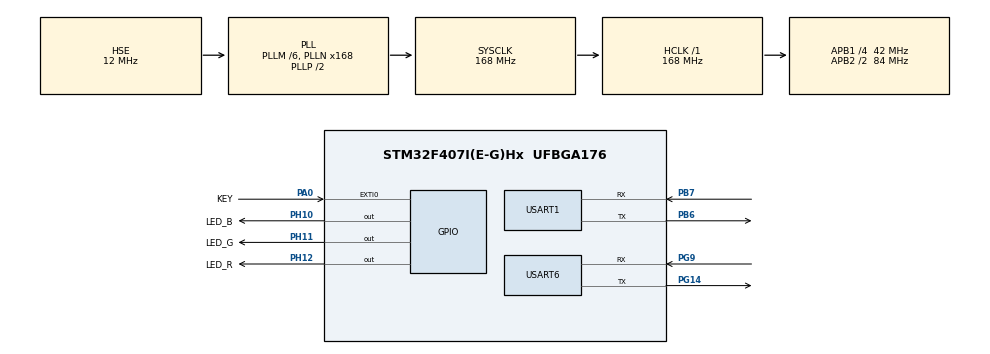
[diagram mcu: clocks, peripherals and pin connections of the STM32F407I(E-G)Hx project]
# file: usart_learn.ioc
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Mcu.Family=STM32F4
Mcu.Name=STM32F407I(E-G)Hx
Mcu.Package=UFBGA176
NVIC.EXTI0_IRQn=true\:0\:0\:false\:false\:true\:true\:true\:true
NVIC.PriorityGroup=NVIC_PRIORITYGROUP_4
NVIC.USART1_IRQn=true\:0\:0\:false\:false\:true\:true\:true\:true
NVIC.USART6_IRQn=true\:0\:0\:false\:false\:true\:true\:true\:true
PA0-WKUP.GPIO_Label=KEY
PA0-WKUP.GPIO_PuPd=GPIO_PULLUP
PA0-WKUP.Signal=GPXTI0
PA13.Mode=Serial_Wire
PA13.Signal=SYS_JTMS-SWDIO
PA14.Mode=Serial_Wire
PA14.Signal=SYS_JTCK-SWCLK
PB6.Mode=Asynchronous
PB6.Signal=USART1_TX
PB7.Mode=Asynchronous
PB7.Signal=USART1_RX
PG14.Mode=Asynchronous
PG14.Signal=USART6_TX
PG9.Mode=Asynchronous
PG9.Signal=USART6_RX
PH0-OSC_IN.Mode=HSE-External-Oscillator
PH0-OSC_IN.Signal=RCC_OSC_IN
PH1-OSC_OUT.Mode=HSE-External-Oscillator
PH1-OSC_OUT.Signal=RCC_OSC_OUT
PH10.GPIO_Label=LED_B
PH10.Signal=GPIO_Output
PH11.GPIO_Label=LED_G
PH11.Signal=GPIO_Output
PH12.GPIO_Label=LED_R
PH12.Signal=GPIO_Output
ProjectManager.HeapSize=0x200
ProjectManager.StackSize=0x400
ProjectManager.TargetToolchain=MDK-ARM V5.32
RCC.48MHZClocksFreq_Value=84000000
RCC.AHBFreq_Value=168000000
RCC.APB1CLKDivider=RCC_HCLK_DIV4
RCC.APB1Freq_Value=42000000
RCC.APB1TimFreq_Value=84000000
RCC.APB2CLKDivider=RCC_HCLK_DIV2
RCC.APB2Freq_Value=84000000
RCC.APB2TimFreq_Value=168000000
RCC.CortexFreq_Value=168000000
RCC.HCLKFreq_Value=168000000
RCC.HSE_VALUE=12000000
RCC.HSI_VALUE=16000000
RCC.LSE_VALUE=32768
RCC.PLLM=6
RCC.PLLN=168
RCC.PLLSourceVirtual=RCC_PLLSOURCE_HSE
RCC.SYSCLKFreq_VALUE=168000000
RCC.SYSCLKSource=RCC_SYSCLKSOURCE_PLLCLK
RCC.VCOOutputFreq_Value=336000000
USART1.VirtualMode=VM_ASYNC
USART6.VirtualMode=VM_ASYNC
VP_TIM1_VS_ClockSourceINT.Mode=Internal
board=custom

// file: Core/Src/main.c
/* USER CODE BEGIN Header */
/**
  ******************************************************************************
  * @file           : main.c
  * @brief          : Main program body
  ******************************************************************************
  * @attention
  *
  * Copyright (c) 2023 STMicroelectronics.
  * All rights reserved.
  *
  * This software is licensed under terms that can be found in the LICENSE file
  * in the root directory of this software component.
  * If no LICENSE file comes with this software, it is provided AS-IS.
  *
  ******************************************************************************
  */
/* USER CODE END Header */
#include "main.h"
#include "tim.h"
#include "usart.h"
#include "gpio.h"
#include "string.h"

/* USER CODE BEGIN PV */
uint8_t data;

/* USER CODE END PV */

void SystemClock_Config(void);
/* USER CODE BEGIN PFP */
void ledBringup()
{
	HAL_GPIO_WritePin(LED_R_GPIO_Port, LED_R_Pin, GPIO_PIN_SET);
  HAL_GPIO_WritePin(LED_G_GPIO_Port, LED_G_Pin, GPIO_PIN_SET);
  HAL_GPIO_WritePin(LED_B_GPIO_Port, LED_B_Pin, GPIO_PIN_SET);
}
void leddown()
{
	HAL_GPIO_WritePin(LED_R_GPIO_Port, LED_R_Pin, GPIO_PIN_RESET);
  HAL_GPIO_WritePin(LED_G_GPIO_Port, LED_G_Pin, GPIO_PIN_RESET);
  HAL_GPIO_WritePin(LED_B_GPIO_Port, LED_B_Pin, GPIO_PIN_RESET);
}
int led_flag=0;
uint8_t rece_data;
int flag=0;
uint8_t data_to_send[4];
typedef union{
	int data32;
	uint8_t data8[4];
}intData;
intData _temp;
/* USER CODE END PFP */

/* USER CODE BEGIN 0 */

void HAL_GPIO_EXTI_Callback(uint16_t GPIO_Pin)
{
	_temp.data32=flag;
	data_to_send[0]=_temp.data8[0];
	data_to_send[1]=_temp.data8[1];
	data_to_send[2]=_temp.data8[2];
	data_to_send[3]=_temp.data8[3];
	HAL_UART_Transmit(&huart6,data_to_send,sizeof(data_to_send),10);
	flag++;

}
void HAL_UART_RxCpltCallback(UART_HandleTypeDef *huart)
{

	if(huart==&huart6)
	{

	HAL_UART_Receive_IT(&huart6,&rece_data, 1);
	}

}
/* USER CODE END 0 */

int main(void)
{

  /* MCU Configuration--------------------------------------------------------*/

  /* Reset of all peripherals, Initializes the Flash interface and the Systick. */
  HAL_Init();

  /* Configure the system clock */
  SystemClock_Config();

  /* Initialize all configured peripherals */
  MX_GPIO_Init();
  MX_TIM1_Init();
  MX_USART1_UART_Init();
  MX_USART6_UART_Init();
  /* USER CODE BEGIN 2 */
	__HAL_UART_ENABLE_IT(&huart1, UART_IT_RXNE);  //receive interrupt
  __HAL_UART_ENABLE_IT(&huart1, UART_IT_IDLE);  //idle interrupt
  __HAL_UART_ENABLE_IT(&huart6, UART_IT_RXNE);  //receive interrupt
  __HAL_UART_ENABLE_IT(&huart6, UART_IT_IDLE);  //idle interrupt
  /* USER CODE END 2 */

  /* Infinite loop */
  /* USER CODE BEGIN WHILE */
	ledBringup();

	HAL_UART_Receive_IT(&huart6,&rece_data,1);
  while (1)
  {
    /* USER CODE END WHILE */

    /* USER CODE BEGIN 3 */
		if((int)rece_data==0)
		{
			ledBringup();
		}
		else{
			leddown();
		}

  }
  /* USER CODE END 3 */
}

void SystemClock_Config(void)
{
  RCC_OscInitTypeDef RCC_OscInitStruct = {0};
  RCC_ClkInitTypeDef RCC_ClkInitStruct = {0};

  /** Configure the main internal regulator output voltage
  */
  __HAL_RCC_PWR_CLK_ENABLE();
  __HAL_PWR_VOLTAGESCALING_CONFIG(PWR_REGULATOR_VOLTAGE_SCALE1);

  /** Initializes the RCC Oscillators according to the specified parameters
  * in the RCC_OscInitTypeDef structure.
  */
  RCC_OscInitStruct.OscillatorType = RCC_OSCILLATORTYPE_HSE;
  RCC_OscInitStruct.HSEState = RCC_HSE_ON;
  RCC_OscInitStruct.PLL.PLLState = RCC_PLL_ON;
  RCC_OscInitStruct.PLL.PLLSource = RCC_PLLSOURCE_HSE;
  RCC_OscInitStruct.PLL.PLLM = 6;
  RCC_OscInitStruct.PLL.PLLN = 168;
  RCC_OscInitStruct.PLL.PLLP = RCC_PLLP_DIV2;
  RCC_OscInitStruct.PLL.PLLQ = 4;
  if (HAL_RCC_OscConfig(&RCC_OscInitStruct) != HAL_OK)
  {
    Error_Handler();
  }

  /** Initializes the CPU, AHB and APB buses clocks
  */
  RCC_ClkInitStruct.ClockType = RCC_CLOCKTYPE_HCLK|RCC_CLOCKTYPE_SYSCLK
                              |RCC_CLOCKTYPE_PCLK1|RCC_CLOCKTYPE_PCLK2;
  RCC_ClkInitStruct.SYSCLKSource = RCC_SYSCLKSOURCE_PLLCLK;
  RCC_ClkInitStruct.AHBCLKDivider = RCC_SYSCLK_DIV1;
  RCC_ClkInitStruct.APB1CLKDivider = RCC_HCLK_DIV4;
  RCC_ClkInitStruct.APB2CLKDivider = RCC_HCLK_DIV2;

  if (HAL_RCC_ClockConfig(&RCC_ClkInitStruct, FLASH_LATENCY_5) != HAL_OK)
  {
    Error_Handler();
  }
}

void Error_Handler(void)
{
  __disable_irq();
  while (1)
  {
  }
}
